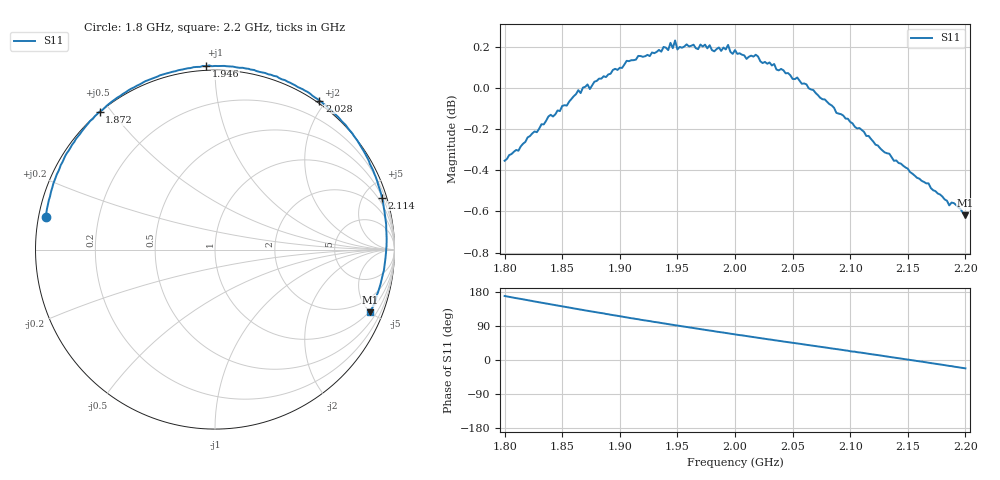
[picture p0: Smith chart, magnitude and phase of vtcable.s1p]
!1-port S-parameter file
# HZ S RI R 50
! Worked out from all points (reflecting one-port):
!   201 points, 1.8 GHz to 2.2 GHz, reference 50 ohm
!   lowest |S11| = -0.6 dB at 2.2 GHz (marker M1), VSWR 28.08, Z = 47.1 - j248 ohm
!   phase of S11 starts at 169 deg and turns -191 deg over the sweep
!   S11 on the Smith chart (normalised r, x): 1.8 GHz: 0.02, +0.10; 1.872 GHz: -0.00, +0.47; 1.946 GHz: -0.02, +0.95; 2.028 GHz: -0.03, +1.92; 2.114 GHz: 0.59, +6.53; 2.2 GHz: 0.94, -4.96
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1.8e9  -0.9422 0.1844
1.82e9  -0.9009 0.3669
1.84e9  -0.8268 0.5356
1.85e9  -0.7757 0.6151
1.872e9  -0.6434 0.7681
1.886e9  -0.5475 0.8447
1.9e9  -0.4367 0.9122
1.918e9  -0.2844 0.9775
1.934e9  -0.1531 1.01
1.946e9  -0.0479 1.021
1.95e9  -0.0172 1.022
1.958e9  0.0508 1.023
1.974e9  0.1875 1.007
2e9  0.3889 0.9445
2.018e9  0.5152 0.8789
2.028e9  0.5817 0.8301
2.05e9  0.7057 0.7157
2.07e9  0.8005 0.5947
2.088e9  0.8617 0.4796
2.098e9  0.8946 0.4071
2.1e9  0.9023 0.3854
2.104e9  0.9076 0.3658
2.114e9  0.9296 0.2891
2.134e9  0.9538 0.139
2.15e9  0.9556 0.0186
2.174e9  0.9299 -0.1623
2.188e9  0.9006 -0.2617
2.2e9  0.863 -0.3498
